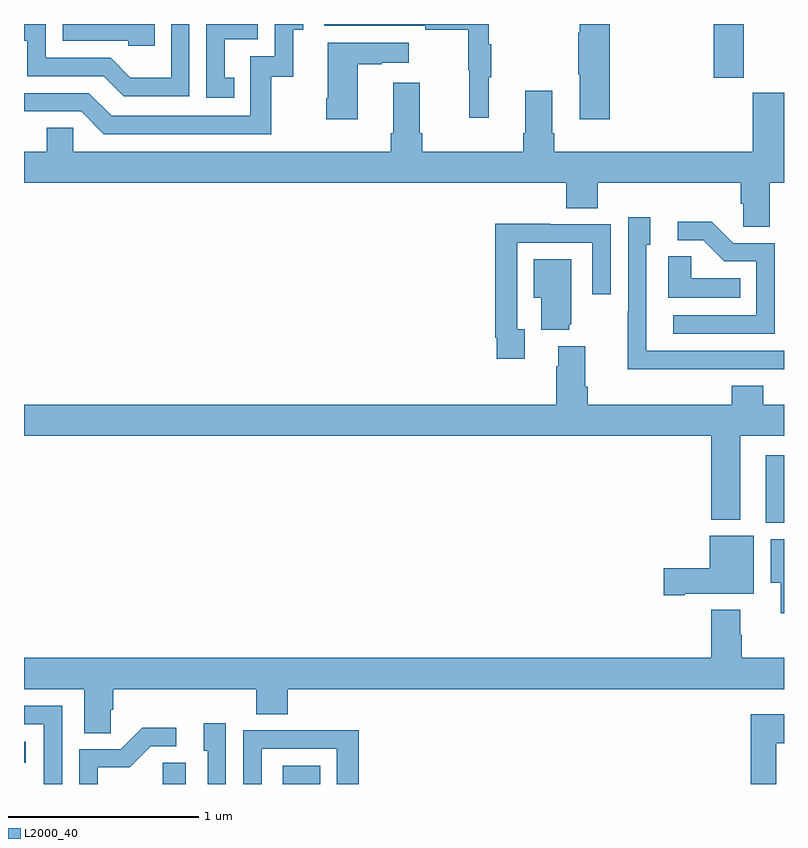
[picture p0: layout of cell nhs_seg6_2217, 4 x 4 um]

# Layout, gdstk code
import gdstk
lib = gdstk.Library(unit=1e-6, precision=1e-09)
def R(c, l, rs):  # rectangles x0, y0, x1, y1
    for r in rs: c.add(gdstk.rectangle(r[:2], r[2:], *l))
def P(c, l, *ps):  # polygons
    for p in ps: c.add(gdstk.Polygon(p, *l))
L2000_40 = (2000, 40)

nhs_seg6_2217 = lib.new_cell('nhs_seg6_2217')
R(nhs_seg6_2217, L2000_40, [(243.729,949.5,243.85,949.613), (244.361,949.5,244.558,949.597), (243,949.613,243.01,949.723), (246.905,950.876,247,951.229), (246.629,953.217,246.789,953.5)])
P(nhs_seg6_2217, L2000_40, [(244.3,953.223),(244.418,953.223),(244.418,953.469),(244.471,953.469),(244.471,953.5),(244.32,953.5),(244.32,953.331),(244.191,953.331),(244.191,953.016),(243.462,953.016),(243.342,953.136),(243,953.136),(243,953.04),(243.3,953.04),(243.42,952.92),(244.3,952.92)],
  [(245.447,953.219),(245.458,953.219),(245.458,953.393),(245.447,953.393),(245.447,953.5),(244.581,953.5),(244.581,953.49),(245.113,953.49),(245.113,953.47),(245.337,953.47),(245.337,953.256),(245.344,953.256),(245.344,953.007),(245.447,953.007)],
  [(246.083,953.5),(245.924,953.5),(245.924,953.453),(245.917,953.453),(245.917,953.236),(245.924,953.236),(245.924,952.998),(246.083,952.998)],
  [(243.87,953.5),(243.774,953.5),(243.774,953.218),(243.56,953.218),(243.456,953.322),(243.114,953.322),(243.114,953.5),(243,953.5),(243,953.411),(243.016,953.411),(243.016,953.226),(243.419,953.226),(243.524,953.121),(243.87,953.121)],
  [(244.106,953.217),(244.057,953.217),(244.057,953.421),(244.23,953.421),(244.23,953.5),(243.96,953.5),(243.96,953.112),(244.106,953.112)],
  [(243.689,953.5),(243.204,953.5),(243.204,953.412),(243.549,953.412),(243.549,953.385),(243.689,953.385)],
  [(244.756,953.287),(244.883,953.287),(244.883,953.297),(245.026,953.297),(245.026,953.401),(244.598,953.401),(244.598,953.11),(244.591,953.11),(244.591,952.998),(244.756,952.998)],
  [(246.925,952.664),(247,952.664),(247,953.137),(246.836,953.137),(246.836,952.828),(245.792,952.828),(245.792,952.924),(245.779,952.924),(245.779,953.149),(245.639,953.149),(245.639,952.924),(245.627,952.924),(245.627,952.828),(245.096,952.828),(245.096,952.924),(245.083,952.924),(245.083,953.191),(244.943,953.191),(244.943,952.924),(244.931,952.924),(244.931,952.828),(243.258,952.828),(243.258,952.955),(243.119,952.955),(243.119,952.828),(243,952.828),(243,952.664),(245.855,952.664),(245.855,952.531),(246.02,952.531),(246.02,952.664),(246.773,952.664),(246.773,952.555),(246.786,952.555),(246.786,952.432),(246.925,952.432)],
  [(246.641,951.684),(247,951.684),(247,951.78),(246.276,951.78),(246.276,952.338),(246.295,952.338),(246.295,952.483),(246.18,952.483),(246.18,951.989),(246.178,951.989),(246.178,951.683),(246.641,951.683)],
  [(246.951,952.347),(246.732,952.347),(246.619,952.46),(246.441,952.46),(246.441,952.362),(246.575,952.362),(246.686,952.251),(246.855,952.251),(246.855,951.966),(246.417,951.966),(246.417,951.87),(246.951,951.87)],
  [(245.635,951.894),(245.595,951.894),(245.595,952.35),(245.991,952.35),(245.991,952.077),(246.087,952.077),(246.087,952.446),(245.771,952.446),(245.771,952.448),(245.479,952.448),(245.479,951.85),(245.487,951.85),(245.487,951.738),(245.635,951.738)],
  [(246.77,952.162),(246.513,952.162),(246.513,952.277),(246.392,952.277),(246.392,952.058),(246.77,952.058)],
  [(245.87,951.921),(245.881,951.921),(245.881,952.261),(245.684,952.261),(245.684,952.058),(245.723,952.058),(245.723,951.89),(245.87,951.89)],
  [(246.769,951.332),(247,951.332),(247,951.496),(246.89,951.496),(246.89,951.595),(246.725,951.595),(246.725,951.496),(245.966,951.496),(245.966,951.592),(245.953,951.592),(245.953,951.805),(245.813,951.805),(245.813,951.698),(245.801,951.698),(245.801,951.496),(243,951.496),(243,951.332),(246.617,951.332),(246.617,950.891),(246.769,950.891)],
  [(246.478,950.501),(246.841,950.501),(246.841,950.806),(246.608,950.806),(246.608,950.636),(246.366,950.636),(246.366,950.494),(246.478,950.494)],
  [(247,950.788),(246.929,950.788),(246.929,950.558),(246.983,950.558),(246.983,950.4),(247,950.4)],
  [(243.456,949.891),(243.47,949.891),(243.47,950),(244.223,950),(244.223,949.867),(244.388,949.867),(244.388,950),(247,950),(247,950.164),(246.777,950.164),(246.777,950.285),(246.769,950.285),(246.769,950.416),(246.617,950.416),(246.617,950.164),(243,950.164),(243,950),(243.317,950),(243.317,949.768),(243.456,949.768)],
  [(243.201,949.911),(243,949.911),(243,949.815),(243.105,949.815),(243.105,949.5),(243.201,949.5)],
  [(246.958,949.715),(247,949.715),(247,949.867),(246.824,949.867),(246.824,949.5),(246.958,949.5)],
  [(244.062,949.819),(243.947,949.819),(243.947,949.674),(243.966,949.674),(243.966,949.5),(244.062,949.5)],
  [(243.387,949.587),(243.556,949.587),(243.667,949.698),(243.802,949.698),(243.802,949.796),(243.623,949.796),(243.51,949.683),(243.291,949.683),(243.291,949.5),(243.387,949.5)],
  [(244.251,949.686),(244.647,949.686),(244.647,949.5),(244.763,949.5),(244.763,949.784),(244.471,949.784),(244.471,949.782),(244.155,949.782),(244.155,949.5),(244.251,949.5)])

lib.write_gds('nhs_seg6_2217.gds')
